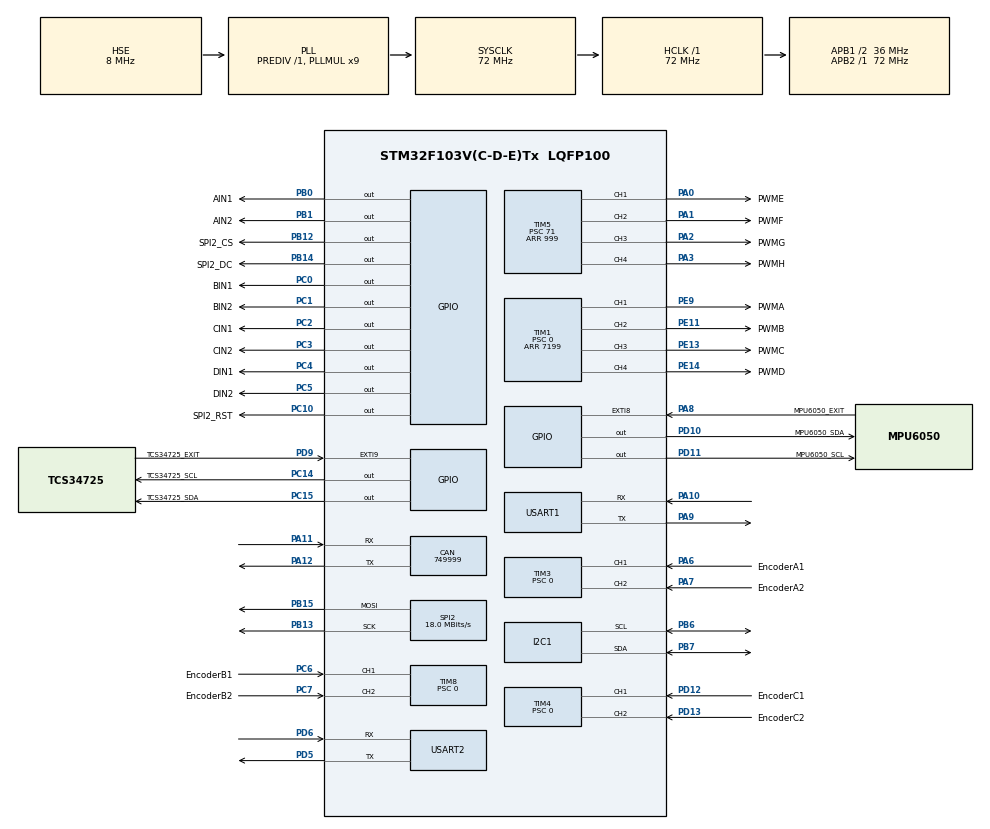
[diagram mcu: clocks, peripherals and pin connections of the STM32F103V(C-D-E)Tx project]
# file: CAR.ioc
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CAN.BS1=CAN_BS1_1TQ
CAN.BS2=CAN_BS2_1TQ
CAN.CalculateBaudRate=749999
CAN.CalculateTimeBit=1333
CAN.CalculateTimeQuantum=444.44444444444446
Dma.Request0=USART1_TX
Dma.Request1=USART1_RX
Dma.USART1_RX.1.Direction=DMA_PERIPH_TO_MEMORY
Dma.USART1_RX.1.Instance=DMA1_Channel5
Dma.USART1_RX.1.MemDataAlignment=DMA_MDATAALIGN_BYTE
Dma.USART1_RX.1.MemInc=DMA_MINC_ENABLE
Dma.USART1_RX.1.Mode=DMA_NORMAL
Dma.USART1_RX.1.PeriphDataAlignment=DMA_PDATAALIGN_BYTE
Dma.USART1_RX.1.PeriphInc=DMA_PINC_DISABLE
Dma.USART1_RX.1.Priority=DMA_PRIORITY_LOW
Dma.USART1_TX.0.Direction=DMA_MEMORY_TO_PERIPH
Dma.USART1_TX.0.Instance=DMA1_Channel4
Dma.USART1_TX.0.MemDataAlignment=DMA_MDATAALIGN_BYTE
Dma.USART1_TX.0.MemInc=DMA_MINC_ENABLE
Dma.USART1_TX.0.Mode=DMA_NORMAL
Dma.USART1_TX.0.PeriphDataAlignment=DMA_PDATAALIGN_BYTE
Dma.USART1_TX.0.PeriphInc=DMA_PINC_DISABLE
Dma.USART1_TX.0.Priority=DMA_PRIORITY_LOW
Mcu.Family=STM32F1
Mcu.Name=STM32F103V(C-D-E)Tx
Mcu.Package=LQFP100
NVIC.DMA1_Channel4_IRQn=true\:2\:0\:true\:false\:true\:false\:true\:true
NVIC.DMA1_Channel5_IRQn=true\:2\:0\:true\:false\:true\:false\:true\:true
NVIC.PriorityGroup=NVIC_PRIORITYGROUP_4
NVIC.TIM2_IRQn=true\:15\:0\:false\:false\:true\:false\:true\:true
NVIC.TIM3_IRQn=true\:0\:0\:false\:false\:true\:true\:true\:true
NVIC.TIM4_IRQn=true\:0\:0\:false\:false\:true\:true\:true\:true
NVIC.TIM6_IRQn=true\:10\:0\:true\:false\:true\:true\:true\:true
NVIC.TIM7_IRQn=true\:10\:0\:true\:false\:true\:true\:true\:true
NVIC.TIM8_UP_IRQn=true\:3\:0\:true\:false\:true\:true\:true\:true
NVIC.TimeBase=TIM2_IRQn
NVIC.TimeBaseIP=TIM2
NVIC.USART1_IRQn=true\:1\:0\:true\:false\:true\:true\:true\:true
NVIC.USART2_IRQn=true\:0\:0\:false\:false\:true\:true\:true\:true
OSC_IN.Mode=HSE-External-Oscillator
OSC_IN.Signal=RCC_OSC_IN
OSC_OUT.Mode=HSE-External-Oscillator
OSC_OUT.Signal=RCC_OSC_OUT
PA0-WKUP.GPIO_Label=PWME
PA0-WKUP.Signal=S_TIM5_CH1
PA1.GPIO_Label=PWMF
PA1.Signal=S_TIM5_CH2
PA10.Mode=Asynchronous
PA10.Signal=USART1_RX
PA11.Mode=CAN_Activate
PA11.Signal=CAN_RX
PA12.Mode=CAN_Activate
PA12.Signal=CAN_TX
PA13.Mode=JTAG_5_pins
PA13.Signal=SYS_JTMS-SWDIO
PA14.Mode=JTAG_5_pins
PA14.Signal=SYS_JTCK-SWCLK
PA15.Mode=JTAG_5_pins
PA15.Signal=SYS_JTDI
PA2.GPIO_Label=PWMG
PA2.Signal=S_TIM5_CH3
PA3.GPIO_Label=PWMH
PA3.Signal=S_TIM5_CH4
PA6.GPIO_Label=EncoderA1
PA6.Signal=S_TIM3_CH1
PA7.GPIO_Label=EncoderA2
PA7.Signal=S_TIM3_CH2
PA8.GPIO_Label=MPU6050_EXIT
PA8.Signal=GPXTI8
PA9.Mode=Asynchronous
PA9.Signal=USART1_TX
PB0.GPIO_Label=AIN1
PB0.Signal=GPIO_Output
PB1.GPIO_Label=AIN2
PB1.Signal=GPIO_Output
PB12.GPIO_Label=SPI2_CS
PB12.Signal=GPIO_Output
PB13.Mode=TX_Only_Simplex_Unidirect_Master
PB13.Signal=SPI2_SCK
PB14.GPIO_Label=SPI2_DC
PB14.Signal=GPIO_Output
PB15.Mode=TX_Only_Simplex_Unidirect_Master
PB15.Signal=SPI2_MOSI
PB3.Mode=JTAG_5_pins
PB3.Signal=SYS_JTDO-TRACESWO
PB4.Mode=JTAG_5_pins
PB4.Signal=SYS_NJTRST
PB6.Mode=I2C
PB6.Signal=I2C1_SCL
PB7.Mode=I2C
PB7.Signal=I2C1_SDA
PC0.GPIO_Label=BIN1
PC0.Signal=GPIO_Output
PC1.GPIO_Label=BIN2
PC1.Signal=GPIO_Output
PC10.GPIO_Label=SPI2_RST
PC10.Signal=GPIO_Output
PC14-OSC32_IN.GPIO_Label=TCS34725_SCL
PC14-OSC32_IN.Signal=GPIO_Output
PC15-OSC32_OUT.GPIO_Label=TCS34725_SDA
PC15-OSC32_OUT.GPIO_ModeDefaultOutputPP=GPIO_MODE_OUTPUT_OD
PC15-OSC32_OUT.GPIO_PuPd=GPIO_NOPULL
PC15-OSC32_OUT.PinState=GPIO_PIN_SET
PC15-OSC32_OUT.Signal=GPIO_Output
PC2.GPIO_Label=CIN1
PC2.Signal=GPIO_Output
PC3.GPIO_Label=CIN2
PC3.Signal=GPIO_Output
PC4.GPIO_Label=DIN1
PC4.Signal=GPIO_Output
PC5.GPIO_Label=DIN2
PC5.Signal=GPIO_Output
PC6.GPIO_Label=EncoderB1
PC6.Signal=S_TIM8_CH1
PC7.GPIO_Label=EncoderB2
PC7.Signal=S_TIM8_CH2
PD10.GPIO_Label=MPU6050_SDA
PD10.GPIO_PuPd=GPIO_PULLUP
PD10.GPIO_Speed=GPIO_SPEED_FREQ_HIGH
PD10.Signal=GPIO_Output
PD11.GPIO_Label=MPU6050_SCL
PD11.GPIO_PuPd=GPIO_PULLUP
PD11.GPIO_Speed=GPIO_SPEED_FREQ_HIGH
PD11.Signal=GPIO_Output
PD12.GPIO_Label=EncoderC1
PD12.Signal=S_TIM4_CH1
PD13.GPIO_Label=EncoderC2
PD13.Signal=S_TIM4_CH2
PD5.Mode=Asynchronous
PD5.Signal=USART2_TX
PD6.Mode=Asynchronous
PD6.Signal=USART2_RX
PD9.GPIO_Label=TCS34725_EXIT
PD9.Signal=GPXTI9
PE11.GPIO_Label=PWMB
PE11.Signal=S_TIM1_CH2
PE13.GPIO_Label=PWMC
PE13.Signal=S_TIM1_CH3
PE14.GPIO_Label=PWMD
PE14.Signal=S_TIM1_CH4
PE9.GPIO_Label=PWMA
PE9.Signal=S_TIM1_CH1
ProjectManager.HeapSize=0x200
ProjectManager.StackSize=0x400
ProjectManager.TargetToolchain=MDK-ARM V5.32
RCC.AHBFreq_Value=72000000
RCC.APB1CLKDivider=RCC_HCLK_DIV2
RCC.APB1Freq_Value=36000000
RCC.APB1TimFreq_Value=72000000
RCC.APB2Freq_Value=72000000
RCC.APB2TimFreq_Value=72000000
RCC.HCLKFreq_Value=72000000
RCC.PLLMUL=RCC_PLL_MUL9
RCC.PLLSourceVirtual=RCC_PLLSOURCE_HSE
RCC.SYSCLKFreq_VALUE=72000000
RCC.SYSCLKSource=RCC_SYSCLKSOURCE_PLLCLK
RCC.USBFreq_Value=72000000
SH.S_TIM1_CH1.0=TIM1_CH1,PWM Generation1 CH1
SH.S_TIM1_CH2.0=TIM1_CH2,PWM Generation2 CH2
SH.S_TIM1_CH3.0=TIM1_CH3,PWM Generation3 CH3
SH.S_TIM1_CH4.0=TIM1_CH4,PWM Generation4 CH4
SH.S_TIM3_CH1.0=TIM3_CH1,Encoder_Interface
SH.S_TIM3_CH2.0=TIM3_CH2,Encoder_Interface
SH.S_TIM4_CH1.0=TIM4_CH1,Encoder_Interface
SH.S_TIM4_CH2.0=TIM4_CH2,Encoder_Interface
SH.S_TIM5_CH1.0=TIM5_CH1,PWM Generation1 CH1
SH.S_TIM5_CH2.0=TIM5_CH2,PWM Generation2 CH2
SH.S_TIM5_CH3.0=TIM5_CH3,PWM Generation3 CH3
SH.S_TIM5_CH4.0=TIM5_CH4,PWM Generation4 CH4
SH.S_TIM8_CH1.0=TIM8_CH1,Encoder_Interface
SH.S_TIM8_CH2.0=TIM8_CH2,Encoder_Interface
SPI2.BaudRatePrescaler=SPI_BAUDRATEPRESCALER_2
SPI2.CalculateBaudRate=18.0 MBits/s
SPI2.Direction=SPI_DIRECTION_2LINES
SPI2.Mode=SPI_MODE_MASTER
SPI2.VirtualType=VM_MASTER
TIM1.Channel-PWM\ Generation1\ CH1=TIM_CHANNEL_1
TIM1.Channel-PWM\ Generation2\ CH2=TIM_CHANNEL_2
TIM1.Channel-PWM\ Generation3\ CH3=TIM_CHANNEL_3
TIM1.Channel-PWM\ Generation4\ CH4=TIM_CHANNEL_4
TIM1.Period=7199
TIM1.Prescaler=0
TIM3.IC1Filter=10
TIM3.IC2Filter=10
TIM3.Period=65535
TIM3.Prescaler=0
TIM4.AutoReloadPreload=TIM_AUTORELOAD_PRELOAD_DISABLE
TIM4.IC1Filter=10
TIM4.IC2Filter=10
TIM4.Period=65535
TIM4.Prescaler=0
TIM5.Channel-PWM\ Generation1\ CH1=TIM_CHANNEL_1
TIM5.Channel-PWM\ Generation2\ CH2=TIM_CHANNEL_2
TIM5.Channel-PWM\ Generation3\ CH3=TIM_CHANNEL_3
TIM5.Channel-PWM\ Generation4\ CH4=TIM_CHANNEL_4
TIM5.Period=999
TIM5.Prescaler=71
TIM6.Period=499
TIM6.Prescaler=31999
TIM7.Period=999
TIM7.Prescaler=3600-1
TIM8.EncoderMode=TIM_ENCODERMODE_TI12
TIM8.IC1Filter=10
TIM8.IC2Filter=10
TIM8.Period=65535
TIM8.Prescaler=0
TIM8.TIM_MasterOutputTrigger=TIM_TRGO_RESET
USART1.VirtualMode=VM_ASYNC
USART2.VirtualMode=VM_ASYNC
VP_RTC_VS_RTC_Activate.Mode=RTC_Enabled
VP_SYS_VS_tim2.Mode=TIM2
VP_TIM1_VS_ClockSourceINT.Mode=Internal
VP_TIM5_VS_ClockSourceINT.Mode=Internal
VP_TIM6_VS_ClockSourceINT.Mode=Enable_Timer
VP_TIM7_VS_ClockSourceINT.Mode=Enable_Timer
board=custom

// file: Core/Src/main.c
/* USER CODE BEGIN Header */
/**
  ******************************************************************************
  * @file           : main.c
  * @brief          : Main program body
  ******************************************************************************
  * @attention
  *
  * Copyright (c) 2024 STMicroelectronics.
  * All rights reserved.
  *
  * This software is licensed under terms that can be found in the LICENSE file
  * in the root directory of this software component.
  * If no LICENSE file comes with this software, it is provided AS-IS.
  *
  ******************************************************************************
  */
/* USER CODE END Header */
#include "main.h"
#include "can.h"
#include "dma.h"
#include "i2c.h"
#include "rtc.h"
#include "spi.h"
#include "tim.h"
#include "usart.h"
#include "gpio.h"
/* USER CODE BEGIN Includes */
#include "system.h"
/* USER CODE END Includes */

void SystemClock_Config(void);

/* USER CODE BEGIN 0 */
/*
uint8_t receivedData[50];

void HAL_UARTEx_RxEventCallback(UART_HandleTypeDef *huart, uint16_t Size)
{
	if(huart == &huart1){
	    HAL_UART_Transmit_IT(&huart1, receivedData, Size);
	    //PWMA = receivedData[0];
      // 处理接收到的数据
		  char *token;
      char *delim = ",:";
      token = strtok((char*)receivedData, delim);
      while (token != NULL) {
        if (strcmp(token, "PWMA") == 0) {
            token = strtok(NULL, delim);
            if (token != NULL) {
                pwma = atoi(token);
							  PWMA = pwma;
            }
        }
				else if (strcmp(token, "PWMB") == 0) {
            token = strtok(NULL, delim);
            if (token != NULL) {
                pwmb = atoi(token);
							  PWMB = pwmb;
            }
        }
				else if (strcmp(token, "PWMC") == 0) {
            token = strtok(NULL, delim);
            if (token != NULL) {
                pwmc = atoi(token);
							  PWMC = pwmc;
            }
        }
				else if (strcmp(token, "PWMD") == 0) {
            token = strtok(NULL, delim);
            if (token != NULL) {
                pwmd = atoi(token);
							  PWMD = pwmd;
            }
        }
        token = strtok(NULL, delim);
       }

      printf("PWMA = %d, PWMB = %d\n", pwma, pwmb);
      // 例如，你可以在这里添加你的处理逻辑
      // 重新启动 UART 接收
	    HAL_UARTEx_ReceiveToIdle_DMA(&huart1, receivedData, 50);
		  //__HAL_DMA_DISABLE_IT(&hdma_usart1_rx,DMA_IT_HT);
	}

}
*/

/* USER CODE END 0 */

int main(void)
{

  /* MCU Configuration--------------------------------------------------------*/

  /* Reset of all peripherals, Initializes the Flash interface and the Systick. */
  HAL_Init();

  /* Configure the system clock */
  SystemClock_Config();

  /* Initialize all configured peripherals */
  MX_GPIO_Init();
  MX_DMA_Init();
  MX_CAN_Init();
  MX_SPI2_Init();
  MX_TIM1_Init();
  MX_TIM3_Init();
  MX_TIM4_Init();
  MX_TIM5_Init();
  MX_TIM6_Init();
  MX_TIM7_Init();
  MX_TIM8_Init();
  MX_USART1_UART_Init();
  MX_USART2_UART_Init();
  MX_I2C1_Init();
  MX_RTC_Init();
  /* USER CODE BEGIN 2 */
	ST7735_Init();
	MPU_Init();
  mpu_dmp_init();
	//TCS34725_Init();
	HAL_TIM_Base_Start_IT(&htim6);
	HAL_TIM_Base_Start_IT(&htim3);
	HAL_TIM_Base_Start_IT(&htim4);
	HAL_TIM_Base_Start_IT(&htim7);
	HAL_TIM_Base_Start_IT(&htim8);
	//HAL_UART_Receive_IT(&huart1,receiveData,2);
	//HAL_UARTEx_ReceiveToIdle_DMA(&huart1, receivedData, 50);
	//__HAL_DMA_DISABLE_IT(&hdma_usart1_rx,DMA_IT_HT);
	Setspeeds(3000,3000,PI / 2);
  /* USER CODE END 2 */

  /* Infinite loop */
  /* USER CODE BEGIN WHILE */
  while (1)
  {
		screenshow();
		//DataScope();
		//HAL_Delay(2000);
    /* USER CODE END WHILE */

  }
}

void SystemClock_Config(void)
{
  RCC_OscInitTypeDef RCC_OscInitStruct = {0};
  RCC_ClkInitTypeDef RCC_ClkInitStruct = {0};
  RCC_PeriphCLKInitTypeDef PeriphClkInit = {0};

  /** Initializes the RCC Oscillators according to the specified parameters
  * in the RCC_OscInitTypeDef structure.
  */
  RCC_OscInitStruct.OscillatorType = RCC_OSCILLATORTYPE_LSI|RCC_OSCILLATORTYPE_HSE;
  RCC_OscInitStruct.HSEState = RCC_HSE_ON;
  RCC_OscInitStruct.HSEPredivValue = RCC_HSE_PREDIV_DIV1;
  RCC_OscInitStruct.HSIState = RCC_HSI_ON;
  RCC_OscInitStruct.LSIState = RCC_LSI_ON;
  RCC_OscInitStruct.PLL.PLLState = RCC_PLL_ON;
  RCC_OscInitStruct.PLL.PLLSource = RCC_PLLSOURCE_HSE;
  RCC_OscInitStruct.PLL.PLLMUL = RCC_PLL_MUL9;
  if (HAL_RCC_OscConfig(&RCC_OscInitStruct) != HAL_OK)
  {
    Error_Handler();
  }

  /** Initializes the CPU, AHB and APB buses clocks
  */
  RCC_ClkInitStruct.ClockType = RCC_CLOCKTYPE_HCLK|RCC_CLOCKTYPE_SYSCLK
                              |RCC_CLOCKTYPE_PCLK1|RCC_CLOCKTYPE_PCLK2;
  RCC_ClkInitStruct.SYSCLKSource = RCC_SYSCLKSOURCE_PLLCLK;
  RCC_ClkInitStruct.AHBCLKDivider = RCC_SYSCLK_DIV1;
  RCC_ClkInitStruct.APB1CLKDivider = RCC_HCLK_DIV2;
  RCC_ClkInitStruct.APB2CLKDivider = RCC_HCLK_DIV1;

  if (HAL_RCC_ClockConfig(&RCC_ClkInitStruct, FLASH_LATENCY_2) != HAL_OK)
  {
    Error_Handler();
  }
  PeriphClkInit.PeriphClockSelection = RCC_PERIPHCLK_RTC;
  PeriphClkInit.RTCClockSelection = RCC_RTCCLKSOURCE_LSI;
  if (HAL_RCCEx_PeriphCLKConfig(&PeriphClkInit) != HAL_OK)
  {
    Error_Handler();
  }
}

void HAL_TIM_PeriodElapsedCallback(TIM_HandleTypeDef *htim)
{
  /* USER CODE BEGIN Callback 0 */
	if (htim->Instance == TIM6)
  {
		//TCS34725_GET_RGB(&rgb);
		//RGBtoHSL(&rgb, &hsl);
		//while(mpu_dmp_get_data(&pitch, &roll, &yaw));
		MPU_Get_Accelerometer(&aacx,&aacy, &aacz);
    MPU_Get_Gyroscope(&gyrox, &gyroy, &gyroz);
    temp=MPU_Get_Temperature();
		Aacx=aacx/1671.84;
		Aacy=aacy/1671.84;
		Aacz=aacz/1671.84;
		Gyrox=gyrox/939.8;
		Gyroy=gyroy/939.8;
  }
  /* USER CODE END Callback 0 */
  if (htim->Instance == TIM2) {
    HAL_IncTick();
  }
}

void Error_Handler(void)
{
  __disable_irq();
  while (1)
  {
  }
}
